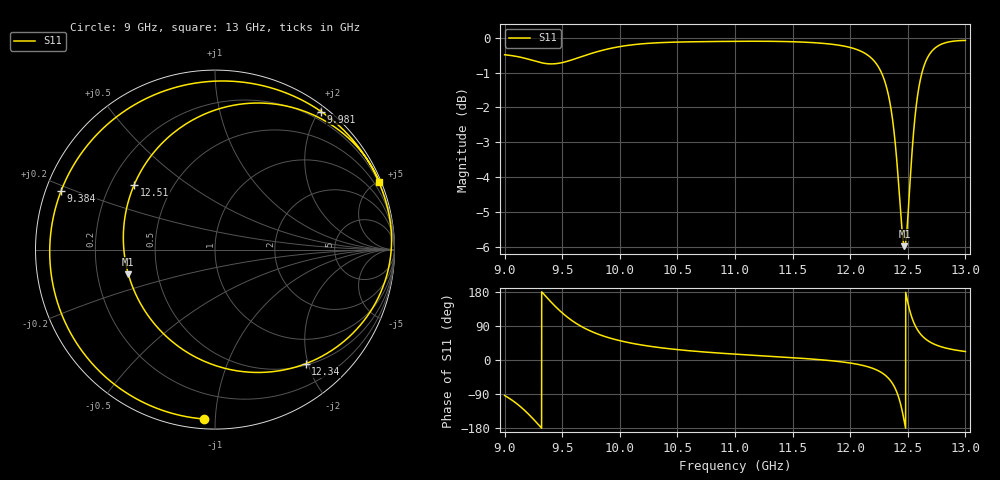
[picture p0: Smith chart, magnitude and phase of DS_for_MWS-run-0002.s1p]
! TOUCHSTONE file generated by CST DESIGN STUDIO
! Date and time: Tue Feb  4 13:14:47 2025
! Project name: C:\Work\MatlabApps\UnitCellOptimizationMatlab\CST\unitcell.cst
! Tree item: Tasks\Sweep1\SPara1\S-Parameters
! Header version: 2024
! Port assignment regex: !\s*Touchstone port\s*([0-9]+)\s*=\s*(CST MWS port|CST DES external port|CST DES block port)\s*(.+)\s* \(\"(.*)\"\)(\s*mode\s*([0-9]+))?.*
! Touchstone port assignment:
! Touchstone port 1 = CST DES external port 1 ("")
# GHz S MA R 50
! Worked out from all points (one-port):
!   4001 points, 9 GHz to 13 GHz, reference 50 ohm
!   lowest |S11| = -6.0 dB at 12.47 GHz (marker M1), VSWR 3.01, Z = 16.9 - j6.19 ohm
!   |S11| at or under -10 dB: nowhere
!   S11 on the Smith chart (normalised r, x): 9 GHz: 0.05, -0.94; 9.384 GHz: 0.04, +0.18; 9.981 GHz: 0.08, +2.03; 12.34 GHz: 0.52, -1.96; 12.51 GHz: 0.30, +0.32; 13 GHz: 0.11, +5.04
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9  0.9457 -93.6
9.095  0.9411 -112.8
9.178  0.9346 -134.2
9.287  0.9237 -168.3
9.384  0.9177 159.2
9.5  0.9215 124.4
9.67  0.9401 87.9
9.814  0.9563 67.9
9.981  0.9703 52.4
10  0.9716 51.0
10.5  0.9862 27.4
11  0.9887 15.5
11.5  0.9874 6.1
12  0.9688 -8.0
12.222  0.9203 -25.2
12.289  0.8768 -36.7
12.342  0.8119 -51.6
12.415  0.6334 -93.2
12.442  0.5486 -121.9
12.471  0.5018 -164.1
12.5  0.5506 151.7
12.508  0.5774 141.2
12.54  0.6968 108.0
12.573  0.7982 85.4
12.625  0.8936 63.5
12.684  0.9448 49.0
12.805  0.9814 33.5
13  0.9915 22.4
